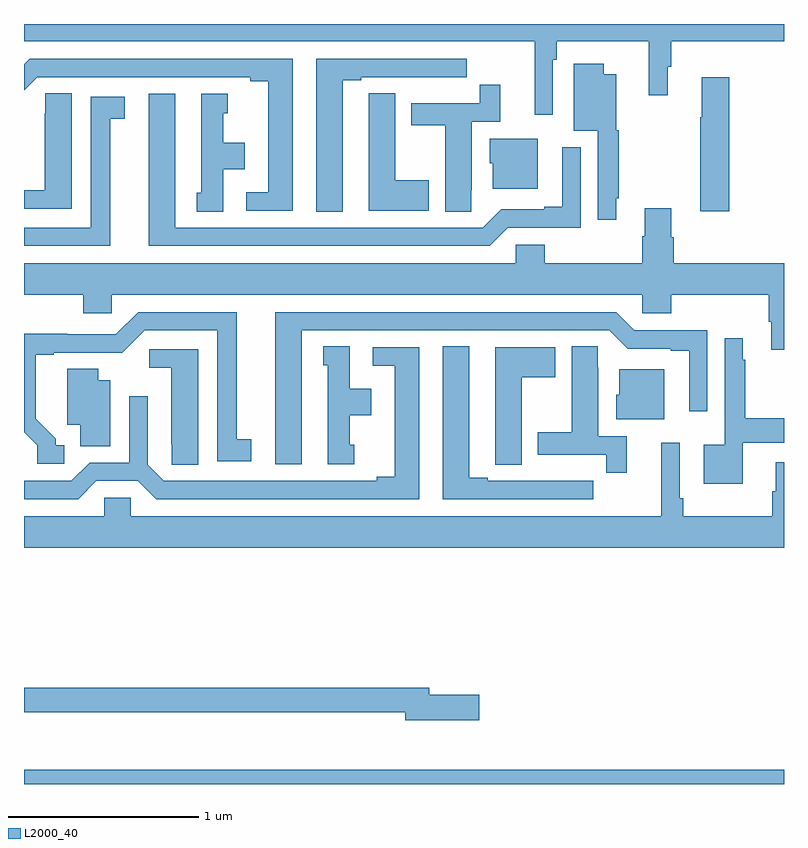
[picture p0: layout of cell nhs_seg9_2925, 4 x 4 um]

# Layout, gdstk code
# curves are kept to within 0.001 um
import gdstk
lib = gdstk.Library(unit=1e-6, precision=1e-09)
def R(c, l, rs):  # rectangles x0, y0, x1, y1
    for r in rs: c.add(gdstk.rectangle(r[:2], r[2:], *l))
def P(c, l, *ps):  # polygons
    for p in ps: c.add(gdstk.Polygon(p, *l))
L2000_40 = (2000, 40)

nhs_seg9_2925 = lib.new_cell('nhs_seg9_2925')
R(nhs_seg9_2925, L2000_40, [(279,1204.5,283,1204.576)])
P(nhs_seg9_2925, L2000_40, [(281.784,1208.312),(281.804,1208.312),(281.804,1208.408),(282.289,1208.408),(282.289,1208.124),(282.388,1208.124),(282.388,1208.274),(282.407,1208.274),(282.407,1208.408),(283,1208.408),(283,1208.5),(279,1208.5),(279,1208.408),(281.687,1208.408),(281.687,1208.022),(281.784,1208.022)],
  [(280.678,1208.205),(280.774,1208.205),(280.774,1208.22),(281.05,1208.22),(281.05,1208.219),(281.216,1208.219),(281.216,1208.22),(281.329,1208.22),(281.329,1208.316),(280.538,1208.316),(280.538,1207.513),(280.678,1207.513)],
  [(280.414,1208.316),(279.029,1208.316),(279,1208.287),(279,1208.151),(279.069,1208.22),(280.19,1208.22),(280.19,1208.2),(280.286,1208.2),(280.286,1207.614),(280.17,1207.614),(280.17,1207.518),(280.414,1207.518)],
  [(282.118,1207.582),(282.13,1207.582),(282.13,1207.941),(282.118,1207.941),(282.118,1208.236),(282.052,1208.236),(282.052,1208.29),(281.894,1208.29),(281.894,1207.937),(282.021,1207.937),(282.021,1207.47),(282.118,1207.47)],
  [(282.713,1208.221),(282.566,1208.221),(282.566,1208.008),(282.559,1208.008),(282.559,1207.515),(282.713,1207.515)],
  [(281.355,1207.624),(281.356,1207.624),(281.356,1207.986),(281.507,1207.986),(281.507,1208.179),(281.398,1208.179),(281.398,1208.082),(281.039,1208.082),(281.039,1207.966),(281.216,1207.966),(281.216,1207.513),(281.355,1207.513)],
  [(279.25,1208.135),(279.111,1208.135),(279.111,1208.027),(279.11,1208.027),(279.11,1207.624),(279,1207.624),(279,1207.527),(279.25,1207.527)],
  [(281.131,1207.677),(280.954,1207.677),(280.954,1208.135),(280.815,1208.135),(280.815,1208.027),(280.814,1208.027),(280.814,1207.517),(281.131,1207.517)],
  [(281.547,1207.428),(281.931,1207.428),(281.931,1207.852),(281.834,1207.852),(281.834,1207.537),(281.738,1207.537),(281.738,1207.524),(281.511,1207.524),(281.415,1207.428),(279.796,1207.428),(279.796,1208.134),(279.656,1208.134),(279.656,1207.332),(281.451,1207.332)],
  [(280.048,1207.736),(280.162,1207.736),(280.162,1207.876),(280.048,1207.876),(280.048,1208.031),(280.072,1208.031),(280.072,1208.134),(279.932,1208.134),(279.932,1207.611),(279.908,1207.611),(279.908,1207.513),(280.048,1207.513)],
  [(279.454,1208.002),(279.529,1208.002),(279.529,1208.118),(279.35,1208.118),(279.35,1207.428),(279,1207.428),(279,1207.332),(279.454,1207.332)],
  [(281.704,1207.897),(281.45,1207.897),(281.45,1207.767),(281.468,1207.767),(281.468,1207.634),(281.704,1207.634)],
  [(283,1207.24),(282.419,1207.24),(282.419,1207.377),(282.406,1207.377),(282.406,1207.531),(282.266,1207.531),(282.266,1207.382),(282.254,1207.382),(282.254,1207.24),(281.741,1207.24),(281.741,1207.338),(281.589,1207.338),(281.589,1207.24),(279,1207.24),(279,1207.076),(279.311,1207.076),(279.311,1206.978),(279.462,1206.978),(279.462,1207.076),(282.255,1207.076),(282.255,1206.978),(282.407,1206.978),(282.407,1207.076),(282.92,1207.076),(282.92,1206.934),(282.932,1206.934),(282.932,1206.786),(283,1206.786)],
  [(279.211,1206.282),(279.166,1206.282),(279.166,1206.317),(279.061,1206.422),(279.061,1206.759),(279.157,1206.759),(279.157,1206.771),(279.518,1206.77),(279.636,1206.888),(280.016,1206.888),(280.016,1206.198),(280.195,1206.198),(280.195,1206.314),(280.12,1206.314),(280.12,1206.984),(279.6,1206.984),(279.483,1206.867),(279.227,1206.867),(279.227,1206.869),(279,1206.869),(279,1206.351),(279.069,1206.282),(279.069,1206.186),(279.211,1206.186)],
  [(280.462,1206.888),(282.081,1206.888),(282.177,1206.792),(282.404,1206.792),(282.404,1206.78),(282.5,1206.78),(282.5,1206.462),(282.597,1206.462),(282.597,1206.888),(282.213,1206.888),(282.117,1206.984),(280.322,1206.984),(280.322,1206.183),(280.462,1206.183)],
  [(282.784,1206.296),(283,1206.296),(283,1206.426),(282.796,1206.426),(282.796,1206.734),(282.784,1206.734),(282.784,1206.847),(282.687,1206.847),(282.687,1206.286),(282.578,1206.286),(282.578,1206.08),(282.784,1206.08)],
  [(281.995,1206.096),(281.882,1206.096),(281.882,1206.097),(281.716,1206.097),(281.716,1206.096),(281.44,1206.096),(281.44,1206.111),(281.344,1206.111),(281.344,1206.803),(281.204,1206.803),(281.204,1206),(281.995,1206)],
  [(282.173,1206.33),(282.022,1206.33),(282.022,1206.692),(282.021,1206.692),(282.021,1206.803),(281.882,1206.803),(281.882,1206.351),(281.705,1206.351),(281.705,1206.234),(282.064,1206.234),(282.064,1206.138),(282.173,1206.138)],
  [(280.738,1206.285),(280.714,1206.285),(280.714,1206.44),(280.828,1206.44),(280.828,1206.58),(280.714,1206.58),(280.714,1206.803),(280.574,1206.803),(280.574,1206.705),(280.598,1206.705),(280.598,1206.183),(280.738,1206.183)],
  [(281.62,1206.64),(281.797,1206.64),(281.797,1206.799),(281.48,1206.799),(281.48,1206.289),(281.481,1206.289),(281.481,1206.181),(281.62,1206.181)],
  [(279.381,1206.096),(279.599,1206.096),(279.695,1206),(281.08,1206),(281.08,1206.798),(280.836,1206.798),(280.836,1206.702),(280.952,1206.702),(280.952,1206.116),(280.856,1206.116),(280.856,1206.096),(279.735,1206.096),(279.651,1206.18),(279.651,1206.541),(279.555,1206.541),(279.555,1206.192),(279.345,1206.192),(279.249,1206.096),(279,1206.096),(279,1206),(279.285,1206)],
  [(279.916,1206.789),(279.66,1206.789),(279.66,1206.692),(279.776,1206.692),(279.776,1206.289),(279.777,1206.289),(279.777,1206.181),(279.916,1206.181)],
  [(279.454,1206.625),(279.391,1206.625),(279.391,1206.686),(279.227,1206.686),(279.227,1206.392),(279.296,1206.392),(279.296,1206.277),(279.454,1206.277)],
  [(282.37,1206.682),(282.134,1206.682),(282.134,1206.549),(282.116,1206.549),(282.116,1206.419),(282.37,1206.419)],
  [(283,1206.193),(282.956,1206.193),(282.956,1206.042),(282.937,1206.042),(282.937,1205.908),(282.47,1205.908),(282.47,1206.004),(282.45,1206.004),(282.45,1206.295),(282.353,1206.295),(282.353,1205.908),(279.561,1205.908),(279.561,1206.006),(279.423,1206.006),(279.423,1205.908),(279,1205.908),(279,1205.744),(283,1205.744)],
  [(281.395,1204.97),(281.134,1204.97),(281.134,1205.006),(279,1205.006),(279,1204.878),(281.006,1204.878),(281.006,1204.835),(281.395,1204.835)])

lib.write_gds('nhs_seg9_2925.gds')
